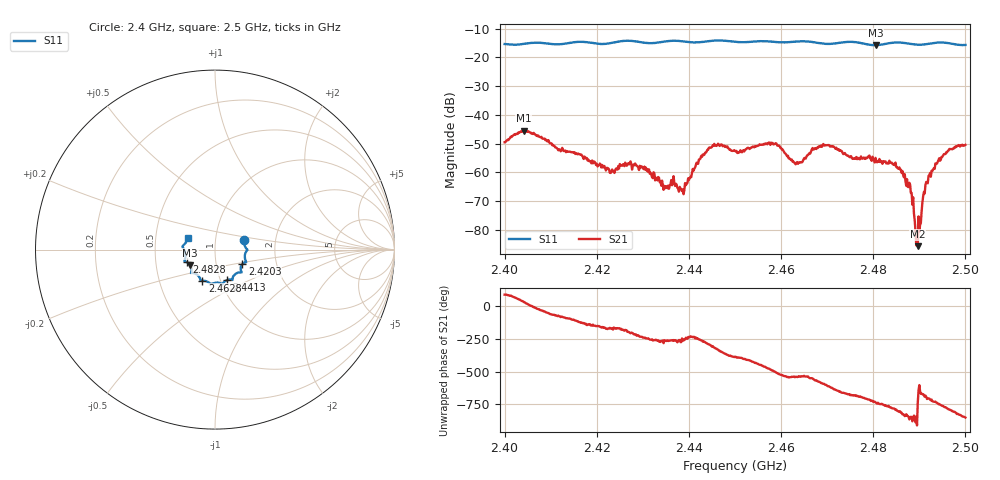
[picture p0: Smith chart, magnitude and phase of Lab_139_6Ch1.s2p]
# Hz S RI R 50
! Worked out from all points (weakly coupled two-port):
!   601 points, 2.4 GHz to 2.5 GHz, reference 50 ohm
!   highest |S21| = -45.49 dB at 2.4042 GHz (marker M1); lowest = -85.6 dB at 2.4897 GHz (marker M2)
!   lowest |S11| = -15.7 dB at 2.4805 GHz (marker M3), VSWR 1.39, Z = 37.3 - j6.69 ohm
!   |S11| at or under -10 dB: start of sweep to end of sweep
!   S12 and S22 are empty: the file has one direction only
!   S11 on the Smith chart (normalised r, x): 2.4 GHz: 1.38, +0.15; 2.4203 GHz: 1.34, -0.22; 2.4413 GHz: 1.08, -0.38; 2.4628 GHz: 0.82, -0.29; 2.4828 GHz: 0.72, -0.10; 2.5 GHz: 0.73, +0.10
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2.4e9  0.163 0.0526  1.32e-05 0.00335  0 0  0 0
2.404167e9  0.1722 0.00863  0.00446 0.0029  0 0  0 0
2.416667e9  0.1735 -0.0697  -0.00113 -0.0017  0 0  0 0
2.420333e9  0.153 -0.0799  -0.00115 -0.000624  0 0  0 0
2.428333e9  0.143 -0.1266  -0.00115 0.000858  0 0  0 0
2.433333e9  0.1004 -0.1514  -0.000145 0.00082  0 0  0 0
2.4385e9  0.0922 -0.1678  -0.000193 0.000433  0 0  0 0
2.441333e9  0.0678 -0.1696  -0.000513 0.0011  0 0  0 0
2.445e9  0.0436 -0.1898  0.00175 0.00215  0 0  0 0
2.45e9  0.0247 -0.1855  0.00213 -0.00107  0 0  0 0
2.4585e9  -0.034 -0.1836  -0.00231 -0.00209  0 0  0 0
2.462833e9  -0.0712 -0.1735  -0.00148 -4.04e-05  0 0  0 0
2.466667e9  -0.0815 -0.1674  -0.00247 0.000469  0 0  0 0
2.4805e9  -0.1383 -0.0871  0.00173 -0.000488  0 0  0 0
2.482833e9  -0.1586 -0.0701  0.00104 -0.000986  0 0  0 0
2.483333e9  -0.1626 -0.0683  0.00104 -0.000971  0 0  0 0
2.487833e9  -0.1663 -0.0491  -0.00055 -0.000371  0 0  0 0
2.489667e9  -0.1646 -0.027  5.02e-05 -1.45e-05  0 0  0 0
2.491167e9  -0.1686 -0.00744  0.000382 0.0002  0 0  0 0
2.4925e9  -0.1754 0.00595  0.000841 4.9e-06  0 0  0 0
2.496333e9  -0.1756 0.0246  0.000842 -0.00225  0 0  0 0
2.5e9  -0.152 0.0639  -0.00203 -0.00224  0 0  0 0
